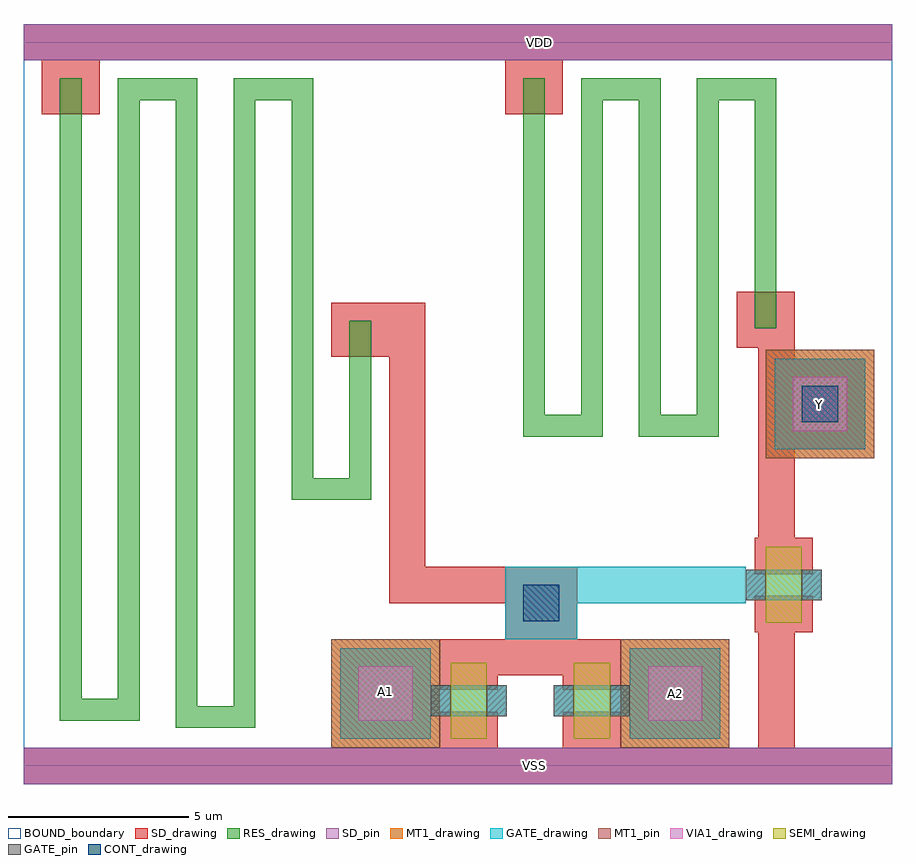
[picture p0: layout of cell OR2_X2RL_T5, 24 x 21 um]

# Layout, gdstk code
from math import pi, radians
import gdstk
lib = gdstk.Library(unit=1e-6, precision=1e-09)
def R(c, l, rs):  # rectangles x0, y0, x1, y1
    for r in rs: c.add(gdstk.rectangle(r[:2], r[2:], *l))
def P(c, l, *ps):  # polygons
    for p in ps: c.add(gdstk.Polygon(p, *l))
RES_drawing = (1, 0)
SEMI_drawing = (3, 0)
SD_drawing = (10, 0)
SD_pin = (10, 3)
GATE_drawing = (11, 0)
GATE_pin = (11, 3)
MT1_drawing = (20, 0)
MT1_pin = (20, 3)
CONT_drawing = (30, 0)
VIA1_drawing = (41, 0)
BOUND_boundary = (150, 5)

nch_cdns_772545121370 = lib.new_cell('nch_CDNS_772545121370')
R(nch_cdns_772545121370, SEMI_drawing, [(-1.05,-0.5,1.05,0.5)])
R(nch_cdns_772545121370, SD_drawing, [(-1.3,-0.8,-0.3,0.8), (0.3,-0.8,1.3,0.8)])
R(nch_cdns_772545121370, GATE_drawing, [(-0.425,-1.05,0.425,1.05)])
R(nch_cdns_772545121370, GATE_pin, [(-0.425,-1.05,0.425,-0.5), (-0.425,0.5,0.425,1.05)])

gate_mt1_cdns_7725451213 = lib.new_cell('GATE_MT1_CDNS_772545121370')
R(gate_mt1_cdns_7725451213, GATE_drawing, [(-1.25,-1.25,1.25,1.25)])
R(gate_mt1_cdns_7725451213, MT1_drawing, [(-1.25,-1.25,1.25,1.25)])
R(gate_mt1_cdns_7725451213, VIA1_drawing, [(-0.75,-0.75,0.75,0.75)])

sd_gate_cdns_77254512137 = lib.new_cell('SD_GATE_CDNS_772545121371')
R(sd_gate_cdns_77254512137, SD_drawing, [(-1,-1,1,1)])
R(sd_gate_cdns_77254512137, GATE_drawing, [(-1,-1,1,1)])
R(sd_gate_cdns_77254512137, CONT_drawing, [(-0.5,-0.5,0.5,0.5)])

or2_x2rl_t5 = lib.new_cell('OR2_X2RL_T5')
R(or2_x2rl_t5, SD_drawing, [(10.65,4.5,15.3,5.5), (20.75,8.75,23.25,11.25), (8.5,11.3,10.1,12.8), (19.7,11.55,21.3,13.1), (0.5,18,2.1,19.5), (0.5,18,2.1,19.5), (13.3,18,14.9,19.5)])
R(or2_x2rl_t5, SD_pin, [(0,-0.5,24,0.5), (0,19.5,24,20.5)])
P(or2_x2rl_t5, GATE_drawing, [(16.85,1.275),(16.85,2.275),(16.75,2.275),(16.75,2.175),(16.7,2.175),(16.7,1.425),(16.75,1.425),(16.75,1.275)],
  [(19.85,4.5),(19.85,5.5),(19.95,5.5),(19.95,5.375),(20,5.375),(20,4.625),(19.95,4.625),(19.95,4.5)],
  [(11.15,2.325),(11.15,1.325),(11.25,1.325),(11.25,1.425),(11.3,1.425),(11.3,2.175),(11.25,2.175),(11.25,2.325)])
R(or2_x2rl_t5, MT1_drawing, [(8.5,0.5,11.5,3.5), (16.5,0.5,19.5,3.5), (20.5,8.5,23.5,11.5)])
R(or2_x2rl_t5, MT1_pin, [(8.5,0.5,11.5,3.5), (16.5,0.5,19.5,3.5), (20.5,8.5,23.5,11.5)])
R(or2_x2rl_t5, BOUND_boundary, [(0,0,24,20)])
or2_x2rl_t5.add(gdstk.FlexPath([(20.8,3.7),(20.8,0.5)], 1, ends="flush", simple_path=True, layer=10, datatype=0))  # SD_drawing
or2_x2rl_t5.add(gdstk.FlexPath([(11.5,3),(16.5,3)], 1, ends="flush", simple_path=True, layer=10, datatype=0))  # SD_drawing
or2_x2rl_t5.add(gdstk.FlexPath([(10.6,12.8),(10.6,4.5)], 1, ends="flush", simple_path=True, layer=10, datatype=0))  # SD_drawing
or2_x2rl_t5.add(gdstk.FlexPath([(20.8,6.3),(20.8,11.55)], 1, ends="flush", simple_path=True, layer=10, datatype=0))  # SD_drawing
or2_x2rl_t5.add(gdstk.FlexPath([(15.75,0.65),(15.75,0.5)], 1.4, ends="flush", simple_path=True, layer=10, datatype=0))  # SD_drawing
or2_x2rl_t5.add(gdstk.FlexPath([(0,20),(24,20)], 1, ends="flush", simple_path=True, layer=10, datatype=0))  # SD_drawing
or2_x2rl_t5.add(gdstk.FlexPath([(0,0),(24,0)], 1, ends="flush", simple_path=True, layer=10, datatype=0))  # SD_drawing
or2_x2rl_t5.add(gdstk.FlexPath([(19.85,5),(15.3,5)], 1, ends="flush", simple_path=True, layer=11, datatype=0))  # GATE_drawing
or2_x2rl_t5.add(gdstk.FlexPath([(20.5,13.1),(20.5,18.7),(18.9,18.7),(18.9,9.4),(17.3,9.4),(17.3,18.7),(15.7,18.7),(15.7,9.4),(14.1,9.4),(14.1,18)], 0.6, ends=(1, 1), simple_path=True, layer=1, datatype=0))  # RES_drawing
or2_x2rl_t5.add(gdstk.FlexPath([(1.3,18),(1.3,1.55),(2.9,1.55),(2.9,18.7),(4.5,18.7),(4.5,1.35),(6.1,1.35),(6.1,18.7),(7.7,18.7),(7.7,7.65),(9.3,7.65)], 0.6, ends=(1, 0.3), simple_path=True, layer=1, datatype=0))  # RES_drawing
or2_x2rl_t5.add(gdstk.FlexPath([(9.3,7.65),(9.3,12.3)], 0.6, ends=(0.3, 0), simple_path=True, layer=1, datatype=0))  # RES_drawing
or2_x2rl_t5.add(gdstk.Reference(nch_cdns_772545121370, (21,5), rotation=pi/2))
or2_x2rl_t5.add(gdstk.Reference(nch_cdns_772545121370, (15.7,1.8), rotation=pi/2))
or2_x2rl_t5.add(gdstk.Reference(nch_cdns_772545121370, (12.3,1.8), rotation=pi/2))
or2_x2rl_t5.add(gdstk.Reference(gate_mt1_cdns_7725451213, (22,10)))
or2_x2rl_t5.add(gdstk.Reference(gate_mt1_cdns_7725451213, (18,2)))
or2_x2rl_t5.add(gdstk.Reference(gate_mt1_cdns_7725451213, (10,2)))
or2_x2rl_t5.add(gdstk.Reference(sd_gate_cdns_77254512137, (22,10)))
or2_x2rl_t5.add(gdstk.Reference(sd_gate_cdns_77254512137, (14.3,4.5)))
or2_x2rl_t5.add(gdstk.Label('VSS', (14.1,0), layer=10, texttype=3))
or2_x2rl_t5.add(gdstk.Label('VDD', (14.25,20), layer=10, texttype=3))
or2_x2rl_t5.add(gdstk.Label('Y', (22,10), layer=20, texttype=3))
or2_x2rl_t5.add(gdstk.Label('A2', (18,2), layer=20, texttype=3))
or2_x2rl_t5.add(gdstk.Label('A1', (10,2.05), layer=20, texttype=3))

lib.write_gds('OR2_X2RL_T5.gds')
